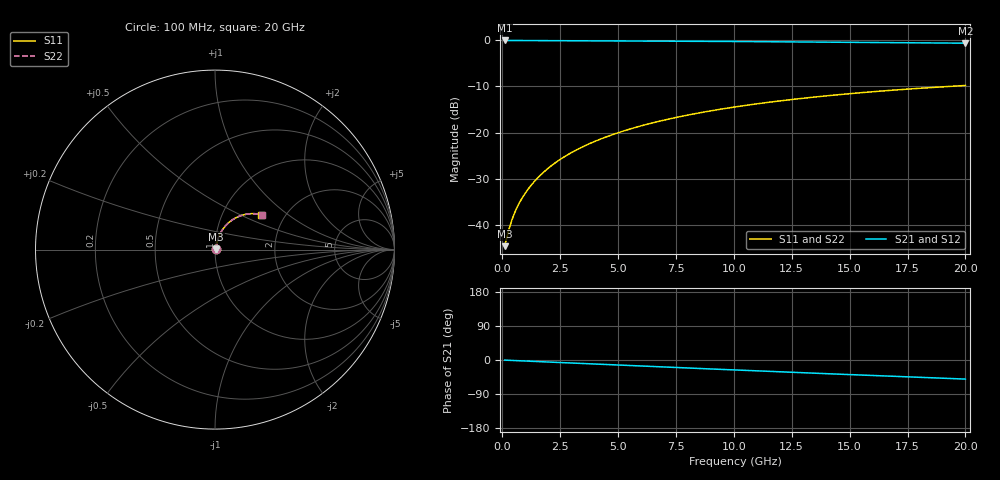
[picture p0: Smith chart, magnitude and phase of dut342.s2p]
! Touchstone file exported from HFSS 2026.1.0
!  File:  C:/ffzhzh/LocalFiles/Ansys_Project_Files/temp_train_BSMRDL_342_1783011226_55676.aedt
!  Generated:  12:55:09 AM Jul  3, 2026
!  Design:  BSMRDL
!  Project:  temp_train_BSMRDL_342_1783011226_55676
! Variables:
!  h_bsmrdl = 2.74um
!  h_ox = 20um
!  h_rdl = 5um
!  h_sub = 80um
!  h_tmrdl = 5um
!  h_tsv = 80um
!  h_via = 3um
!  l_bsmrdl = 827.82um
!  l_sub = 1227.82um
!  l_tmrdl = 200um
!  m_sub = 200um
!  pitch = 33.67um
!  r_tsv = 6um
!  s_tmrdl = 10um
!  w_bsmrdl = 20.62um
!  w_sub = 500um
!  w_tmrdl = 12um
!  x_tsv_center1 = 206um
!  x_tsv_center2 = 1054.44um
!  x_tsv_center3 = 1266.44um
!  x_tsv_center4 = 2114.88um
!  x_tsv_center5 = 2326.88um
!  x_tsv_center6 = 3175.32um
# GHz S MA R 50.000000
! Terminal data exported
! Port[1] = BSM_RDL1_1_T1
! Port[2] = BSM_RDL1_1_T2
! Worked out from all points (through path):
!   200 points, 100 MHz to 20 GHz, reference 50 ohm
!   highest |S21| = -0.05 dB at 100 MHz (marker M1); lowest = -0.6 dB at 20 GHz (marker M2)
!   group delay of S21, straight-line fit = 6.99 ps
!   lowest |S11| = -44.5 dB at 100 MHz (marker M3), VSWR 1.01, Z = 50.5 + j0.246 ohm
!   |S11| at or under -10 dB: start of sweep to 19.27 GHz
!   |S22| runs from -44.5 to -9.8 dB; largest |S21 - S12| = 2.1e-15
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0.1  0.005927 24.2  0.9946 -0.3  0.9946 -0.3  0.005927 24.2
! Gamma 0 0 0 0
! Port Impedance 50 0 50 0
0.3  0.00921 49.3  0.9941 -0.9  0.9941 -0.9  0.00921 49.3
0.4  0.01109 55.0  0.9938 -1.1  0.9938 -1.1  0.01109 55.0
0.5  0.01298 58.9  0.9935 -1.4  0.9935 -1.4  0.01298 58.9
0.6  0.01485 61.7  0.9933 -1.7  0.9933 -1.7  0.01485 61.7
0.8  0.01858 65.8  0.9929 -2.2  0.9929 -2.2  0.01858 65.8
1  0.02234 68.5  0.9926 -2.7  0.9926 -2.7  0.02234 68.5
1.2  0.02614 70.4  0.9924 -3.3  0.9924 -3.3  0.02614 70.4
1.4  0.02997 71.8  0.9921 -3.8  0.9921 -3.8  0.02997 71.8
1.7  0.03577 73.2  0.9918 -4.6  0.9918 -4.6  0.03577 73.2
2.2  0.04552 74.2  0.9912 -5.9  0.9912 -5.9  0.04552 74.2
2.8  0.05727 74.4  0.9904 -7.5  0.9904 -7.5  0.05727 74.4
3.5  0.07094 73.9  0.9892 -9.4  0.9892 -9.4  0.07094 73.9
4.2  0.08452 72.9  0.9878 -11.2  0.9878 -11.2  0.08451 72.9
5  0.09985 71.5  0.9859 -13.3  0.9859 -13.3  0.09985 71.4
5.9  0.1168 69.6  0.9835 -15.7  0.9835 -15.7  0.1168 69.6
6.8  0.1334 67.6  0.9808 -18.0  0.9808 -18.0  0.1334 67.6
8.3  0.1602 64.2  0.9759 -21.9  0.9759 -21.9  0.1602 64.1
10.1  0.1907 59.9  0.9693 -26.4  0.9693 -26.4  0.1907 59.9
13.4  0.2418 52.1  0.9561 -34.6  0.9561 -34.6  0.2418 52.0
16.7  0.2863 44.4  0.9425 -42.6  0.9425 -42.6  0.2863 44.4
20  0.3239 36.9  0.9295 -50.3  0.9295 -50.3  0.3239 36.9
